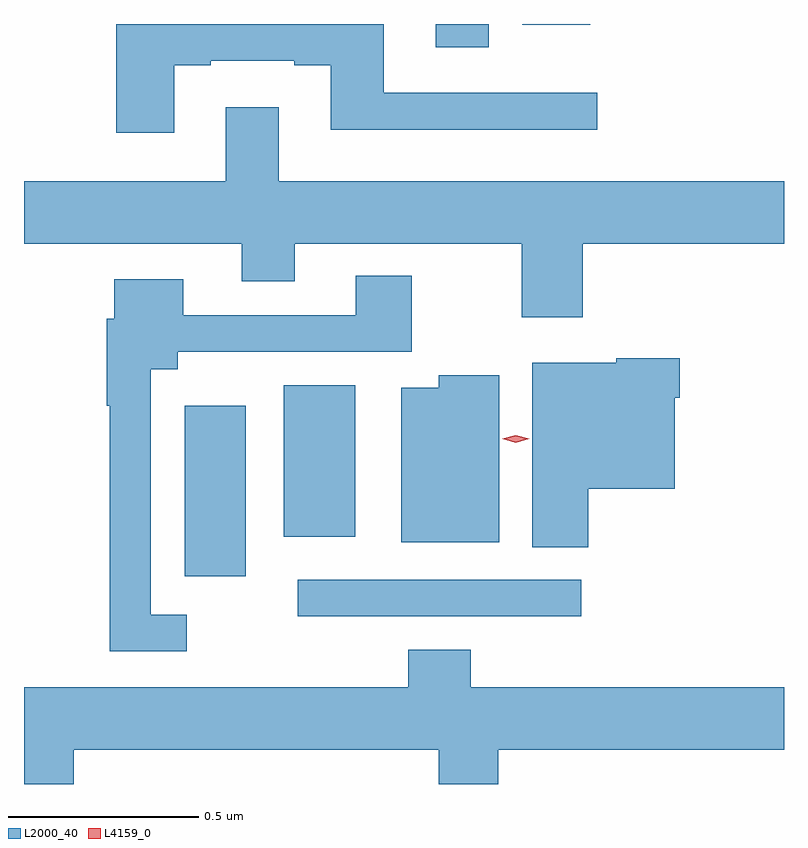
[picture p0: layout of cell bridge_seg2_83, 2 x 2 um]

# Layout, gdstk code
import gdstk
lib = gdstk.Library(unit=1e-6, precision=1e-09)
def R(c, l, rs):  # rectangles x0, y0, x1, y1
    for r in rs: c.add(gdstk.rectangle(r[:2], r[2:], *l))
def P(c, l, *ps):  # polygons
    for p in ps: c.add(gdstk.Polygon(p, *l))
L2000_40 = (2000, 40)
L4159_0 = (4159, 0)

bridge_seg2_83 = lib.new_cell('bridge_seg2_83')
R(bridge_seg2_83, L2000_40, [(359.205,662.64,359.95,662.736), (358.907,662.745,359.068,663.193), (359.168,662.849,359.356,663.247), (359.567,664.137,359.707,664.198), (359.795,664.196,359.974,664.198)])
P(bridge_seg2_83, L2000_40, [(358.879,664.089),(358.975,664.089),(358.975,664.101),(359.195,664.101),(359.195,664.089),(359.291,664.089),(359.291,663.92),(359.992,663.92),(359.992,664.017),(359.431,664.017),(359.431,664.198),(358.727,664.198),(358.727,663.912),(358.879,663.912)],
  [(359.954,663.62),(360.484,663.62),(360.484,663.784),(359.155,663.784),(359.155,663.979),(359.015,663.979),(359.015,663.784),(358.484,663.784),(358.484,663.62),(359.057,663.62),(359.057,663.521),(359.197,663.521),(359.197,663.62),(359.794,663.62),(359.794,663.426),(359.954,663.426)],
  [(358.912,662.643),(358.818,662.643),(358.818,663.29),(358.888,663.29),(358.888,663.336),(359.505,663.336),(359.505,663.535),(359.357,663.535),(359.357,663.432),(358.903,663.432),(358.903,663.526),(358.721,663.526),(358.721,663.422),(358.702,663.422),(358.702,663.194),(358.71,663.194),(358.71,662.547),(358.912,662.547)],
  [(359.969,662.975),(360.196,662.975),(360.196,663.215),(360.209,663.215),(360.209,663.319),(360.042,663.319),(360.042,663.307),(359.822,663.307),(359.822,662.821),(359.969,662.821)],
  [(359.734,663.274),(359.576,663.274),(359.576,663.241),(359.477,663.241),(359.477,662.834),(359.734,662.834)],
  [(358.615,662.288),(359.575,662.288),(359.575,662.198),(359.732,662.198),(359.732,662.288),(360.484,662.288),(360.484,662.452),(359.66,662.452),(359.66,662.551),(359.495,662.551),(359.495,662.452),(358.484,662.452),(358.484,662.198),(358.615,662.198)])
P(bridge_seg2_83, L4159_0, [(359.778,663.096),(359.742,663.106),(359.742,663.106),(359.742,663.106),(359.778,663.116),(359.814,663.107),(359.814,663.107),(359.814,663.107)])

lib.write_gds('bridge_seg2_83.gds')
